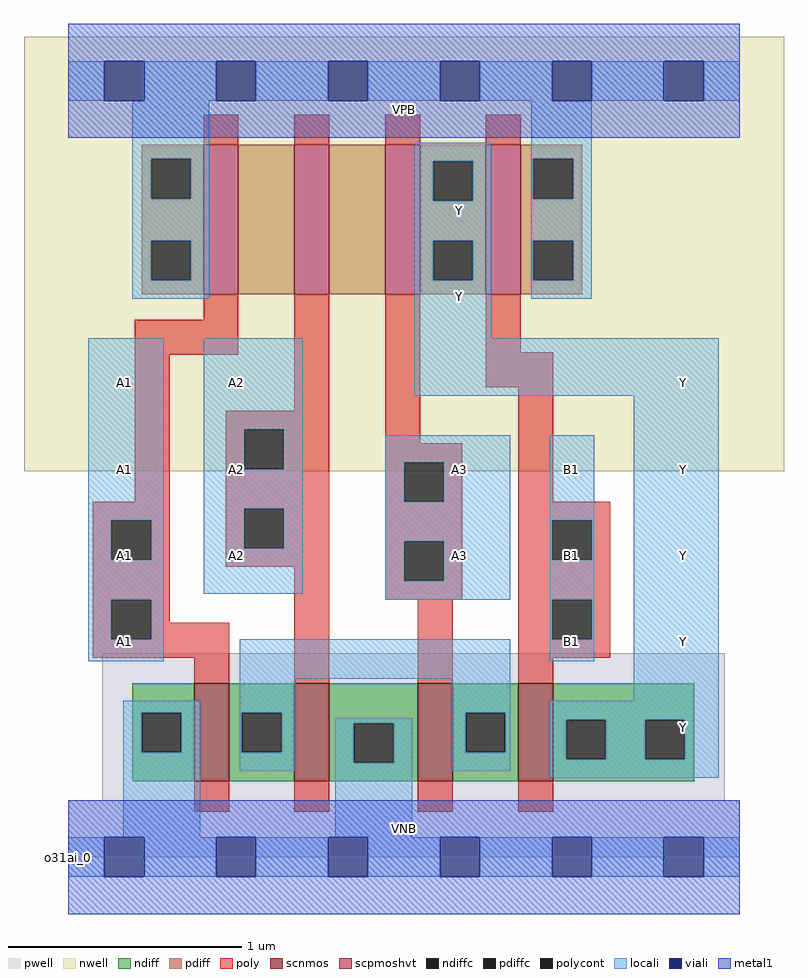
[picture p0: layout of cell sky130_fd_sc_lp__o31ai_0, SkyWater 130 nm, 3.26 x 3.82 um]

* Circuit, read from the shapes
.subckt sky130_fd_sc_lp__o31ai_0 A1 A2 A3 B1 VGND VNB VPB VPWR Y
XM1 n1 A1 VGND VNB sky130_fd_pr__nfet_01v8 w=0.42 l=0.15
XM2 VGND A2 n1 VNB sky130_fd_pr__nfet_01v8 w=0.42 l=0.15
XM3 n1 A3 VGND VNB sky130_fd_pr__nfet_01v8 w=0.42 l=0.15
XM4 Y B1 n1 VNB sky130_fd_pr__nfet_01v8 w=0.42 l=0.15
XM5 n2 A1 VPWR VPB sky130_fd_pr__pfet_01v8_hvt w=0.64 l=0.15
XM6 n3 A2 n2 VPB sky130_fd_pr__pfet_01v8_hvt w=0.64 l=0.15
XM7 Y A3 n3 VPB sky130_fd_pr__pfet_01v8_hvt w=0.64 l=0.15
XM8 VPWR B1 Y VPB sky130_fd_pr__pfet_01v8_hvt w=0.64 l=0.15
.ends

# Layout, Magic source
magic
tech sky130A
magscale 1 2
<< nwell >>
rect -38 331 614 704
<< pwell >>
rect 29 49 563 175
rect 0 0 576 49
<< scnmos >>
rect 108 65 138 149
rect 194 65 224 149
rect 300 65 330 149
rect 386 65 416 149
<< scpmoshvt >>
rect 116 483 146 611
rect 194 483 224 611
rect 272 483 302 611
rect 358 483 388 611
<< ndiff >>
rect 55 124 108 149
rect 55 90 63 124
rect 97 90 108 124
rect 55 65 108 90
rect 138 124 194 149
rect 138 90 149 124
rect 183 90 194 124
rect 138 65 194 90
rect 224 115 300 149
rect 224 81 245 115
rect 279 81 300 115
rect 224 65 300 81
rect 330 124 386 149
rect 330 90 341 124
rect 375 90 386 124
rect 330 65 386 90
rect 416 118 537 149
rect 416 84 427 118
rect 461 84 495 118
rect 529 84 537 118
rect 416 65 537 84
<< pdiff >>
rect 63 599 116 611
rect 63 565 71 599
rect 105 565 116 599
rect 63 529 116 565
rect 63 495 71 529
rect 105 495 116 529
rect 63 483 116 495
rect 146 483 194 611
rect 224 483 272 611
rect 302 597 358 611
rect 302 563 313 597
rect 347 563 358 597
rect 302 529 358 563
rect 302 495 313 529
rect 347 495 358 529
rect 302 483 358 495
rect 388 599 441 611
rect 388 565 399 599
rect 433 565 441 599
rect 388 529 441 565
rect 388 495 399 529
rect 433 495 441 529
rect 388 483 441 495
<< ndiffc >>
rect 63 90 97 124
rect 149 90 183 124
rect 245 81 279 115
rect 341 90 375 124
rect 427 84 461 118
rect 495 84 529 118
<< pdiffc >>
rect 71 565 105 599
rect 71 495 105 529
rect 313 563 347 597
rect 313 495 347 529
rect 399 565 433 599
rect 399 495 433 529
<< poly >>
rect 116 611 146 637
rect 194 611 224 637
rect 272 611 302 637
rect 358 611 388 637
rect 116 461 146 483
rect 57 431 146 461
rect 57 305 87 431
rect 194 383 224 483
rect 21 289 87 305
rect 21 255 37 289
rect 71 255 87 289
rect 21 221 87 255
rect 135 367 224 383
rect 135 333 151 367
rect 185 333 224 367
rect 135 299 224 333
rect 135 265 151 299
rect 185 265 224 299
rect 135 249 224 265
rect 21 187 37 221
rect 71 201 87 221
rect 71 187 138 201
rect 21 171 138 187
rect 108 149 138 171
rect 194 149 224 249
rect 272 355 302 483
rect 358 433 388 483
rect 358 403 416 433
rect 272 339 338 355
rect 272 305 288 339
rect 322 305 338 339
rect 272 271 338 305
rect 272 237 288 271
rect 322 237 338 271
rect 272 221 338 237
rect 386 305 416 403
rect 386 289 465 305
rect 386 255 415 289
rect 449 255 465 289
rect 386 221 465 255
rect 300 149 330 221
rect 386 187 415 221
rect 449 187 465 221
rect 386 171 465 187
rect 386 149 416 171
rect 108 39 138 65
rect 194 39 224 65
rect 300 39 330 65
rect 386 39 416 65
<< polycont >>
rect 37 255 71 289
rect 151 333 185 367
rect 151 265 185 299
rect 37 187 71 221
rect 288 305 322 339
rect 288 237 322 271
rect 415 255 449 289
rect 415 187 449 221
<< locali >>
rect 0 649 31 683
rect 65 649 127 683
rect 161 649 223 683
rect 257 649 319 683
rect 353 649 415 683
rect 449 649 511 683
rect 545 649 576 683
rect 55 599 121 649
rect 55 565 71 599
rect 105 565 121 599
rect 55 529 121 565
rect 55 495 71 529
rect 105 495 121 529
rect 55 479 121 495
rect 297 597 363 613
rect 297 563 313 597
rect 347 563 363 597
rect 297 529 363 563
rect 297 495 313 529
rect 347 495 363 529
rect 297 445 363 495
rect 397 599 449 649
rect 397 565 399 599
rect 433 565 449 599
rect 397 529 449 565
rect 397 495 399 529
rect 433 495 449 529
rect 397 479 449 495
rect 17 289 82 445
rect 17 255 37 289
rect 71 255 82 289
rect 17 221 82 255
rect 116 367 201 445
rect 297 396 558 445
rect 116 333 151 367
rect 185 333 201 367
rect 116 299 201 333
rect 116 265 151 299
rect 185 265 201 299
rect 116 226 201 265
rect 272 339 379 362
rect 272 305 288 339
rect 322 305 379 339
rect 272 271 379 305
rect 272 237 288 271
rect 322 237 379 271
rect 272 221 379 237
rect 413 289 451 362
rect 413 255 415 289
rect 449 255 451 289
rect 413 221 451 255
rect 17 187 37 221
rect 71 187 82 221
rect 413 187 415 221
rect 449 187 451 221
rect 17 168 82 187
rect 147 153 379 187
rect 413 168 451 187
rect 47 124 113 134
rect 47 90 63 124
rect 97 90 113 124
rect 47 17 113 90
rect 147 124 195 153
rect 147 90 149 124
rect 183 90 195 124
rect 329 124 379 153
rect 485 134 558 396
rect 147 74 195 90
rect 229 115 295 119
rect 229 81 245 115
rect 279 81 295 115
rect 229 17 295 81
rect 329 90 341 124
rect 375 90 379 124
rect 329 74 379 90
rect 413 118 558 134
rect 413 84 427 118
rect 461 84 495 118
rect 529 84 558 118
rect 413 68 558 84
rect 0 -17 31 17
rect 65 -17 127 17
rect 161 -17 223 17
rect 257 -17 319 17
rect 353 -17 415 17
rect 449 -17 511 17
rect 545 -17 576 17
<< viali >>
rect 31 649 65 683
rect 127 649 161 683
rect 223 649 257 683
rect 319 649 353 683
rect 415 649 449 683
rect 511 649 545 683
rect 31 -17 65 17
rect 127 -17 161 17
rect 223 -17 257 17
rect 319 -17 353 17
rect 415 -17 449 17
rect 511 -17 545 17
<< metal1 >>
rect 0 683 576 715
rect 0 649 31 683
rect 65 649 127 683
rect 161 649 223 683
rect 257 649 319 683
rect 353 649 415 683
rect 449 649 511 683
rect 545 649 576 683
rect 0 617 576 649
rect 0 17 576 49
rect 0 -17 31 17
rect 65 -17 127 17
rect 161 -17 223 17
rect 257 -17 319 17
rect 353 -17 415 17
rect 449 -17 511 17
rect 545 -17 576 17
rect 0 -49 576 -17
<< labels >>
flabel pwell s 0 0 576 49 0 FreeSans 200 0 0 0 VNB
port 6 nsew ground bidirectional
flabel nwell s 0 617 576 666 0 FreeSans 200 0 0 0 VPB
port 7 nsew power bidirectional
rlabel comment s 0 0 0 0 4 o31ai_0
flabel metal1 s 0 617 576 666 0 FreeSans 340 0 0 0 VPWR
port 8 nsew power bidirectional
flabel metal1 s 0 0 576 49 0 FreeSans 340 0 0 0 VGND
port 5 nsew ground bidirectional
flabel locali s 31 168 65 202 0 FreeSans 340 0 0 0 A1
port 1 nsew signal input
flabel locali s 31 242 65 276 0 FreeSans 340 0 0 0 A1
port 1 nsew signal input
flabel locali s 31 316 65 350 0 FreeSans 340 0 0 0 A1
port 1 nsew signal input
flabel locali s 31 390 65 424 0 FreeSans 340 0 0 0 A1
port 1 nsew signal input
flabel locali s 319 538 353 572 0 FreeSans 340 0 0 0 Y
port 9 nsew signal output
flabel locali s 415 168 449 202 0 FreeSans 340 0 0 0 B1
port 4 nsew signal input
flabel locali s 415 242 449 276 0 FreeSans 340 0 0 0 B1
port 4 nsew signal input
flabel locali s 415 316 449 350 0 FreeSans 340 0 0 0 B1
port 4 nsew signal input
flabel locali s 127 242 161 276 0 FreeSans 340 0 0 0 A2
port 2 nsew signal input
flabel locali s 127 316 161 350 0 FreeSans 340 0 0 0 A2
port 2 nsew signal input
flabel locali s 127 390 161 424 0 FreeSans 340 0 0 0 A2
port 2 nsew signal input
flabel locali s 319 242 353 276 0 FreeSans 340 0 0 0 A3
port 3 nsew signal input
flabel locali s 319 316 353 350 0 FreeSans 340 0 0 0 A3
port 3 nsew signal input
flabel locali s 319 464 353 498 0 FreeSans 340 0 0 0 Y
port 9 nsew signal output
flabel locali s 511 94 545 128 0 FreeSans 340 0 0 0 Y
port 9 nsew signal output
flabel locali s 511 168 545 202 0 FreeSans 340 0 0 0 Y
port 9 nsew signal output
flabel locali s 511 242 545 276 0 FreeSans 340 0 0 0 Y
port 9 nsew signal output
flabel locali s 511 316 545 350 0 FreeSans 340 0 0 0 Y
port 9 nsew signal output
flabel locali s 511 390 545 424 0 FreeSans 340 0 0 0 Y
port 9 nsew signal output
<< properties >>
string LEFsite unit
string LEFclass CORE
string FIXED_BBOX 0 0 576 666
string GDS_FILE $PDKPATH/libs.ref/sky130_fd_sc_lp/gds/sky130_fd_sc_lp.gds
string LEFsymmetry X Y R90
string GDS_END 267236
string GDS_START 260140
<< end >>
